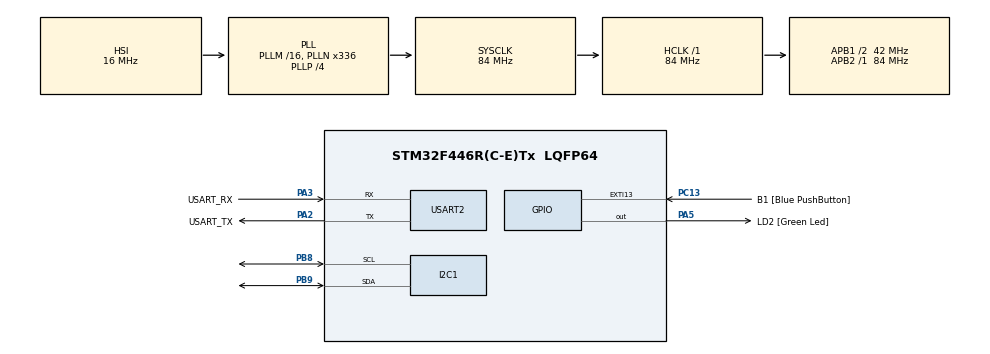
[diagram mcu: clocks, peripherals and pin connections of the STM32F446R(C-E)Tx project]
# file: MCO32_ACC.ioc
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I2C1.I2C_Mode=I2C_Fast
Mcu.Family=STM32F4
Mcu.Name=STM32F446R(C-E)Tx
Mcu.Package=LQFP64
NVIC.PriorityGroup=NVIC_PRIORITYGROUP_0
PA13.GPIO_Label=TMS
PA13.Mode=Serial_Wire
PA13.Signal=SYS_JTMS-SWDIO
PA14.GPIO_Label=TCK
PA14.Mode=Serial_Wire
PA14.Signal=SYS_JTCK-SWCLK
PA2.GPIO_Label=USART_TX
PA2.Mode=Asynchronous
PA2.Signal=USART2_TX
PA3.GPIO_Label=USART_RX
PA3.Mode=Asynchronous
PA3.Signal=USART2_RX
PA5.GPIO_Label=LD2 [Green Led]
PA5.Signal=GPIO_Output
PB3.GPIO_Label=SWO
PB3.Signal=SYS_JTDO-SWO
PB8.Mode=I2C
PB8.Signal=I2C1_SCL
PB9.Mode=I2C
PB9.Signal=I2C1_SDA
PC13.GPIO_Label=B1 [Blue PushButton]
PC13.GPIO_ModeDefaultEXTI=GPIO_MODE_IT_FALLING
PC13.Signal=GPXTI13
PC14-OSC32_IN.Mode=LSE-External-Oscillator
PC14-OSC32_IN.Signal=RCC_OSC32_IN
PC15-OSC32_OUT.Mode=LSE-External-Oscillator
PC15-OSC32_OUT.Signal=RCC_OSC32_OUT
PH0-OSC_IN.Mode=HSE-External-Oscillator
PH0-OSC_IN.Signal=RCC_OSC_IN
PH1-OSC_OUT.Mode=HSE-External-Oscillator
PH1-OSC_OUT.Signal=RCC_OSC_OUT
ProjectManager.HeapSize=0x200
ProjectManager.StackSize=0x400
ProjectManager.TargetToolchain=STM32CubeIDE
RCC.48MHZClocksFreq_Value=84000000
RCC.AHBFreq_Value=84000000
RCC.APB1CLKDivider=RCC_HCLK_DIV2
RCC.APB1Freq_Value=42000000
RCC.APB1TimFreq_Value=84000000
RCC.APB2Freq_Value=84000000
RCC.APB2TimFreq_Value=84000000
RCC.CortexFreq_Value=84000000
RCC.FLatency-AdvancedSettings=FLASH_LATENCY_2
RCC.HCLKFreq_Value=84000000
RCC.HSE_VALUE=8000000
RCC.HSI_VALUE=16000000
RCC.PLLN=336
RCC.PLLP=RCC_PLLP_DIV4
RCC.SYSCLKFreq_VALUE=84000000
RCC.SYSCLKSource=RCC_SYSCLKSOURCE_PLLCLK
RCC.USBFreq_Value=168000000
RCC.VCOOutputFreq_Value=336000000
USART2.VirtualMode=VM_ASYNC
board=NUCLEO-F446RE

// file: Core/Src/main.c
/* USER CODE BEGIN Header */
/**
  ******************************************************************************
  * @file           : main.c
  * @brief          : Main program body
  ******************************************************************************
  * @attention
  *
  * Copyright (c) 2023 STMicroelectronics.
  * All rights reserved.
  *
  * This software is licensed under terms that can be found in the LICENSE file
  * in the root directory of this software component.
  * If no LICENSE file comes with this software, it is provided AS-IS.
  *
  ******************************************************************************
  */
/* USER CODE END Header */
#include "main.h"

/* USER CODE BEGIN Includes */
#include "MPU6050_light_STM32.h"
#include <math.h>
#include <stdio.h>
/* USER CODE END Includes */

I2C_HandleTypeDef hi2c1;

UART_HandleTypeDef huart2;

void SystemClock_Config(void);
static void MX_GPIO_Init(void);
static void MX_USART2_UART_Init(void);
static void MX_I2C1_Init(void);

/* USER CODE BEGIN 0 */

#ifdef __GNUC__
/* With GCC/RAISONANCE, small printf (option LD Linker-
>Libraries->Small printf
set to 'Yes') calls __io_putchar() */
#define PUTCHAR_PROTOTYPE int __io_putchar(int ch)
#else
#define PUTCHAR_PROTOTYPE int fputc(int ch, FILE *f)
#endif /* __GNUC__ */

/* USER CODE END 0 */

int main(void)
{
  /* USER CODE BEGIN 1 */
	int32_t timer;
  /* USER CODE END 1 */

  /* MCU Configuration--------------------------------------------------------*/

  /* Reset of all peripherals, Initializes the Flash interface and the Systick. */
  HAL_Init();

  /* Configure the system clock */
  SystemClock_Config();

  /* Initialize all configured peripherals */
  MX_GPIO_Init();
  MX_USART2_UART_Init();
  MX_I2C1_Init();
  /* USER CODE BEGIN 2 */
  //Inicialização do MPU6050
  MPU6050_init(&hi2c1);
  printf("Calculating gyro offset, do not move MPU6050\r\n");
  HAL_Delay(1000);
  //MPU6050_calcGyroOffsets();
  printf("Done!");
  /* USER CODE END 2 */

  /* Infinite loop */
  /* USER CODE BEGIN WHILE */
  while (1)
  {
	  MPU6050_update();
	  // print data every second
	  if((HAL_GetTick() - timer) > 2000)
	  {
		  printf("TEMPERATURE : %.2f\r\n", MPU6050_getTemp());
		  printf("ACCELERO X : %.2f", MPU6050_getAccX());
		  printf("\tY : %.2f", MPU6050_getAccY());
		  printf("\tZ : %.2f\r\n", MPU6050_getAccZ());
		  printf("GYRO X : %.2f", MPU6050_getGyroX());
		  printf("\tY : %.2f", MPU6050_getGyroY());
		  printf("\tZ : %.2f\r\n", MPU6050_getGyroZ());
		  printf("ACC ANGLE X : %.2f", MPU6050_getAccAngleX());
		  printf("\tY : %.2f\r\n", MPU6050_getAccAngleY());
		  printf("ANGLE X : %.2f", MPU6050_getAngleX());
		  printf("\tY : %.2f", MPU6050_getAngleY());
		  printf("\tZ : %.2f\r\n", MPU6050_getAngleZ());
		  printf("=======================================================\r\n");
		  timer = HAL_GetTick();
	  }
    /* USER CODE END WHILE */

  }
}

void SystemClock_Config(void)
{
  RCC_OscInitTypeDef RCC_OscInitStruct = {0};
  RCC_ClkInitTypeDef RCC_ClkInitStruct = {0};

  /** Configure the main internal regulator output voltage
  */
  __HAL_RCC_PWR_CLK_ENABLE();
  __HAL_PWR_VOLTAGESCALING_CONFIG(PWR_REGULATOR_VOLTAGE_SCALE3);

  /** Initializes the RCC Oscillators according to the specified parameters
  * in the RCC_OscInitTypeDef structure.
  */
  RCC_OscInitStruct.OscillatorType = RCC_OSCILLATORTYPE_HSI;
  RCC_OscInitStruct.HSIState = RCC_HSI_ON;
  RCC_OscInitStruct.HSICalibrationValue = RCC_HSICALIBRATION_DEFAULT;
  RCC_OscInitStruct.PLL.PLLState = RCC_PLL_ON;
  RCC_OscInitStruct.PLL.PLLSource = RCC_PLLSOURCE_HSI;
  RCC_OscInitStruct.PLL.PLLM = 16;
  RCC_OscInitStruct.PLL.PLLN = 336;
  RCC_OscInitStruct.PLL.PLLP = RCC_PLLP_DIV4;
  RCC_OscInitStruct.PLL.PLLQ = 2;
  RCC_OscInitStruct.PLL.PLLR = 2;
  if (HAL_RCC_OscConfig(&RCC_OscInitStruct) != HAL_OK)
  {
    Error_Handler();
  }

  /** Initializes the CPU, AHB and APB buses clocks
  */
  RCC_ClkInitStruct.ClockType = RCC_CLOCKTYPE_HCLK|RCC_CLOCKTYPE_SYSCLK
                              |RCC_CLOCKTYPE_PCLK1|RCC_CLOCKTYPE_PCLK2;
  RCC_ClkInitStruct.SYSCLKSource = RCC_SYSCLKSOURCE_PLLCLK;
  RCC_ClkInitStruct.AHBCLKDivider = RCC_SYSCLK_DIV1;
  RCC_ClkInitStruct.APB1CLKDivider = RCC_HCLK_DIV2;
  RCC_ClkInitStruct.APB2CLKDivider = RCC_HCLK_DIV1;

  if (HAL_RCC_ClockConfig(&RCC_ClkInitStruct, FLASH_LATENCY_2) != HAL_OK)
  {
    Error_Handler();
  }
}

static void MX_I2C1_Init(void)
{

  hi2c1.Instance = I2C1;
  hi2c1.Init.ClockSpeed = 400000;
  hi2c1.Init.DutyCycle = I2C_DUTYCYCLE_2;
  hi2c1.Init.OwnAddress1 = 0;
  hi2c1.Init.AddressingMode = I2C_ADDRESSINGMODE_7BIT;
  hi2c1.Init.DualAddressMode = I2C_DUALADDRESS_DISABLE;
  hi2c1.Init.OwnAddress2 = 0;
  hi2c1.Init.GeneralCallMode = I2C_GENERALCALL_DISABLE;
  hi2c1.Init.NoStretchMode = I2C_NOSTRETCH_DISABLE;
  if (HAL_I2C_Init(&hi2c1) != HAL_OK)
  {
    Error_Handler();
  }

}

static void MX_USART2_UART_Init(void)
{

  huart2.Instance = USART2;
  huart2.Init.BaudRate = 115200;
  huart2.Init.WordLength = UART_WORDLENGTH_8B;
  huart2.Init.StopBits = UART_STOPBITS_1;
  huart2.Init.Parity = UART_PARITY_NONE;
  huart2.Init.Mode = UART_MODE_TX_RX;
  huart2.Init.HwFlowCtl = UART_HWCONTROL_NONE;
  huart2.Init.OverSampling = UART_OVERSAMPLING_16;
  if (HAL_UART_Init(&huart2) != HAL_OK)
  {
    Error_Handler();
  }

}

static void MX_GPIO_Init(void)
{
  GPIO_InitTypeDef GPIO_InitStruct = {0};

  /* GPIO Ports Clock Enable */
  __HAL_RCC_GPIOC_CLK_ENABLE();
  __HAL_RCC_GPIOH_CLK_ENABLE();
  __HAL_RCC_GPIOA_CLK_ENABLE();
  __HAL_RCC_GPIOB_CLK_ENABLE();

  /*Configure GPIO pin Output Level */
  HAL_GPIO_WritePin(LD2_GPIO_Port, LD2_Pin, GPIO_PIN_RESET);

  /*Configure GPIO pin : B1_Pin */
  GPIO_InitStruct.Pin = B1_Pin;
  GPIO_InitStruct.Mode = GPIO_MODE_IT_FALLING;
  GPIO_InitStruct.Pull = GPIO_NOPULL;
  HAL_GPIO_Init(B1_GPIO_Port, &GPIO_InitStruct);

  /*Configure GPIO pin : LD2_Pin */
  GPIO_InitStruct.Pin = LD2_Pin;
  GPIO_InitStruct.Mode = GPIO_MODE_OUTPUT_PP;
  GPIO_InitStruct.Pull = GPIO_NOPULL;
  GPIO_InitStruct.Speed = GPIO_SPEED_FREQ_LOW;
  HAL_GPIO_Init(LD2_GPIO_Port, &GPIO_InitStruct);

}

/* USER CODE BEGIN 4 */

/**
 * @brief Retargets the C library printf function to the USART.
 * @param None
 * @retval None
 */
PUTCHAR_PROTOTYPE
{
	/* Place your implementation of fputc here */
	/* e.g. write a character to the USART2 and Loop until the end
of transmission */
	HAL_UART_Transmit(&huart2, (uint8_t *)&ch, 1, 0xFFFF);
	return ch;
}

/* USER CODE END 4 */

void Error_Handler(void)
{
  __disable_irq();
  while (1)
  {
  }
}
